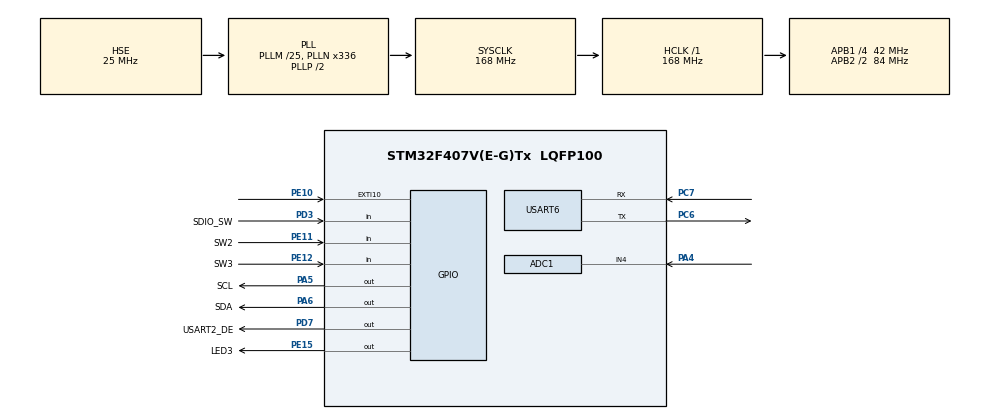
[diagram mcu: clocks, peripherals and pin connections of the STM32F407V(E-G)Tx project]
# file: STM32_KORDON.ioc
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ADC1.Channel-0\#ChannelRegularConversion=ADC_CHANNEL_4
ADC1.NbrOfConversionFlag=1
ADC1.Rank-0\#ChannelRegularConversion=1
ADC1.SamplingTime-0\#ChannelRegularConversion=ADC_SAMPLETIME_84CYCLES
ADC1.master=1
Mcu.Family=STM32F4
Mcu.Name=STM32F407V(E-G)Tx
Mcu.Package=LQFP100
NVIC.ADC_IRQn=true\:0\:0\:false\:false\:true\:true\:true\:true
NVIC.EXTI15_10_IRQn=true\:0\:0\:false\:false\:true\:true\:true\:true
NVIC.PriorityGroup=NVIC_PRIORITYGROUP_4
NVIC.USART6_IRQn=true\:0\:0\:false\:false\:true\:true\:true\:true
PA13.Mode=Serial_Wire
PA13.Signal=SYS_JTMS-SWDIO
PA14.Mode=Serial_Wire
PA14.Signal=SYS_JTCK-SWCLK
PA4.Signal=ADCx_IN4
PA5.GPIO_Label=SCL
PA5.GPIO_ModeDefaultOutputPP=GPIO_MODE_OUTPUT_OD
PA5.GPIO_PuPd=GPIO_PULLUP
PA5.GPIO_Speed=GPIO_SPEED_FREQ_HIGH
PA5.PinState=GPIO_PIN_SET
PA5.Signal=GPIO_Output
PA6.GPIO_Label=SDA
PA6.GPIO_ModeDefaultOutputPP=GPIO_MODE_OUTPUT_OD
PA6.GPIO_PuPd=GPIO_PULLUP
PA6.GPIO_Speed=GPIO_SPEED_FREQ_HIGH
PA6.PinState=GPIO_PIN_SET
PA6.Signal=GPIO_Output
PC6.Mode=Asynchronous
PC6.Signal=USART6_TX
PC7.Mode=Asynchronous
PC7.Signal=USART6_RX
PD3.GPIO_Label=SDIO_SW
PD3.Signal=GPIO_Input
PD7.GPIO_Label=USART2_DE
PD7.Signal=GPIO_Output
PE10.GPIO_ModeDefaultEXTI=GPIO_MODE_IT_FALLING
PE10.Signal=GPXTI10
PE11.GPIO_Label=SW2
PE11.Signal=GPIO_Input
PE12.GPIO_Label=SW3
PE12.Signal=GPIO_Input
PE15.GPIO_Label=LED3
PE15.PinState=GPIO_PIN_SET
PE15.Signal=GPIO_Output
PH0-OSC_IN.Mode=HSE-External-Oscillator
PH0-OSC_IN.Signal=RCC_OSC_IN
PH1-OSC_OUT.Mode=HSE-External-Oscillator
PH1-OSC_OUT.Signal=RCC_OSC_OUT
ProjectManager.HeapSize=0x200
ProjectManager.StackSize=0x400
ProjectManager.TargetToolchain=STM32CubeIDE
RCC.48MHZClocksFreq_Value=48000000
RCC.AHBFreq_Value=168000000
RCC.APB1CLKDivider=RCC_HCLK_DIV4
RCC.APB1Freq_Value=42000000
RCC.APB1TimFreq_Value=84000000
RCC.APB2CLKDivider=RCC_HCLK_DIV2
RCC.APB2Freq_Value=84000000
RCC.APB2TimFreq_Value=168000000
RCC.CortexFreq_Value=168000000
RCC.HCLKFreq_Value=168000000
RCC.HSE_VALUE=25000000
RCC.HSI_VALUE=16000000
RCC.LSE_VALUE=32768
RCC.PLLM=25
RCC.PLLN=336
RCC.PLLQ=7
RCC.PLLSourceVirtual=RCC_PLLSOURCE_HSE
RCC.SYSCLKFreq_VALUE=168000000
RCC.SYSCLKSource=RCC_SYSCLKSOURCE_PLLCLK
RCC.VCOOutputFreq_Value=336000000
SH.ADCx_IN4.0=ADC1_IN4,IN4
USART6.VirtualMode=VM_ASYNC
board=custom

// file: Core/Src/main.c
/* USER CODE BEGIN Header */
/**
  ******************************************************************************
  * @file           : main.c
  * @brief          : Main program body
  ******************************************************************************
  * @attention
  *
  * Copyright (c) 2026 STMicroelectronics.
  * All rights reserved.
  *
  * This software is licensed under terms that can be found in the LICENSE file
  * in the root directory of this software component.
  * If no LICENSE file comes with this software, it is provided AS-IS.
  *
  ******************************************************************************
  */
/* USER CODE END Header */
#include "main.h"

/* USER CODE BEGIN Includes */

#include <stdio.h>
#include <string.h>
#include "sw_i2c.h"

/* USER CODE END Includes */

ADC_HandleTypeDef hadc1;

UART_HandleTypeDef huart6;

void SystemClock_Config(void);
static void MX_GPIO_Init(void);
static void MX_USART6_UART_Init(void);
static void MX_ADC1_Init(void);

int main(void)
{

  /* MCU Configuration--------------------------------------------------------*/

  /* Reset of all peripherals, Initializes the Flash interface and the Systick. */
  HAL_Init();

  /* Configure the system clock */
  SystemClock_Config();

  /* Initialize all configured peripherals */
  MX_GPIO_Init();
  MX_USART6_UART_Init();
  MX_ADC1_Init();
  /* USER CODE BEGIN 2 */

	extern sw_i2c_t sw_i2c_stm32_f4;

	SW_I2C_initial(&sw_i2c_stm32_f4);

	uint8_t mpu_address = (0x68 << 1);
	uint8_t sensor_id = 0;

	SW_I2C_Read_8addr(&sw_i2c_stm32_f4, mpu_address, 0x75, &sensor_id, 1);

	printf("liyanboy74 S2_I2C MPU ID:  0x%X\r\n", sensor_id);

	uint8_t wakeup_data = 0x00;
	SW_I2C_Write_8addr(&sw_i2c_stm32_f4, mpu_address, 0x6B, &wakeup_data, 1);

  /* USER CODE END 2 */

  /* Infinite loop */
  while (1)
  {

    /* USER CODE BEGIN 3 */
	uint8_t raw_data[6];
	int16_t accel_x = 0, accel_y = 0, accel_z = 0;
	float g_x = 0, g_y = 0, g_z = 0;

	SW_I2C_Read_8addr(&sw_i2c_stm32_f4, mpu_address, 0X3B, raw_data, 6);

	accel_x = (int16_t)((raw_data[0] << 8) | raw_data[1]);
	accel_y = (int16_t)((raw_data[2] << 8) | raw_data[3]);
	accel_z = (int16_t)((raw_data[4] << 8) | raw_data[5]);

	g_x = accel_x / 16384.0f;
	g_y = accel_y / 16384.0f;
	g_z = accel_z / 16384.0f;

	printf("X: %.2f g | Y: %.2f g | Z: %.2f g\r\n", g_x, g_y, g_z);

	HAL_Delay(100);

  }

  /* USER CODE END 3 */
}

void SystemClock_Config(void)
{
  RCC_OscInitTypeDef RCC_OscInitStruct = {0};
  RCC_ClkInitTypeDef RCC_ClkInitStruct = {0};

  /** Configure the main internal regulator output voltage
  */
  __HAL_RCC_PWR_CLK_ENABLE();
  __HAL_PWR_VOLTAGESCALING_CONFIG(PWR_REGULATOR_VOLTAGE_SCALE1);

  /** Initializes the RCC Oscillators according to the specified parameters
  * in the RCC_OscInitTypeDef structure.
  */
  RCC_OscInitStruct.OscillatorType = RCC_OSCILLATORTYPE_HSE;
  RCC_OscInitStruct.HSEState = RCC_HSE_ON;
  RCC_OscInitStruct.PLL.PLLState = RCC_PLL_ON;
  RCC_OscInitStruct.PLL.PLLSource = RCC_PLLSOURCE_HSE;
  RCC_OscInitStruct.PLL.PLLM = 25;
  RCC_OscInitStruct.PLL.PLLN = 336;
  RCC_OscInitStruct.PLL.PLLP = RCC_PLLP_DIV2;
  RCC_OscInitStruct.PLL.PLLQ = 7;
  if (HAL_RCC_OscConfig(&RCC_OscInitStruct) != HAL_OK)
  {
    Error_Handler();
  }

  /** Initializes the CPU, AHB and APB buses clocks
  */
  RCC_ClkInitStruct.ClockType = RCC_CLOCKTYPE_HCLK|RCC_CLOCKTYPE_SYSCLK
                              |RCC_CLOCKTYPE_PCLK1|RCC_CLOCKTYPE_PCLK2;
  RCC_ClkInitStruct.SYSCLKSource = RCC_SYSCLKSOURCE_PLLCLK;
  RCC_ClkInitStruct.AHBCLKDivider = RCC_SYSCLK_DIV1;
  RCC_ClkInitStruct.APB1CLKDivider = RCC_HCLK_DIV4;
  RCC_ClkInitStruct.APB2CLKDivider = RCC_HCLK_DIV2;

  if (HAL_RCC_ClockConfig(&RCC_ClkInitStruct, FLASH_LATENCY_5) != HAL_OK)
  {
    Error_Handler();
  }
}

static void MX_ADC1_Init(void)
{

  ADC_ChannelConfTypeDef sConfig = {0};

  /** Configure the global features of the ADC (Clock, Resolution, Data Alignment and number of conversion)
  */
  hadc1.Instance = ADC1;
  hadc1.Init.ClockPrescaler = ADC_CLOCK_SYNC_PCLK_DIV4;
  hadc1.Init.Resolution = ADC_RESOLUTION_12B;
  hadc1.Init.ScanConvMode = DISABLE;
  hadc1.Init.ContinuousConvMode = DISABLE;
  hadc1.Init.DiscontinuousConvMode = DISABLE;
  hadc1.Init.ExternalTrigConvEdge = ADC_EXTERNALTRIGCONVEDGE_NONE;
  hadc1.Init.ExternalTrigConv = ADC_SOFTWARE_START;
  hadc1.Init.DataAlign = ADC_DATAALIGN_RIGHT;
  hadc1.Init.NbrOfConversion = 1;
  hadc1.Init.DMAContinuousRequests = DISABLE;
  hadc1.Init.EOCSelection = ADC_EOC_SINGLE_CONV;
  if (HAL_ADC_Init(&hadc1) != HAL_OK)
  {
    Error_Handler();
  }

  /** Configure for the selected ADC regular channel its corresponding rank in the sequencer and its sample time.
  */
  sConfig.Channel = ADC_CHANNEL_4;
  sConfig.Rank = 1;
  sConfig.SamplingTime = ADC_SAMPLETIME_84CYCLES;
  if (HAL_ADC_ConfigChannel(&hadc1, &sConfig) != HAL_OK)
  {
    Error_Handler();
  }

}

static void MX_USART6_UART_Init(void)
{

  huart6.Instance = USART6;
  huart6.Init.BaudRate = 115200;
  huart6.Init.WordLength = UART_WORDLENGTH_8B;
  huart6.Init.StopBits = UART_STOPBITS_1;
  huart6.Init.Parity = UART_PARITY_NONE;
  huart6.Init.Mode = UART_MODE_TX_RX;
  huart6.Init.HwFlowCtl = UART_HWCONTROL_NONE;
  huart6.Init.OverSampling = UART_OVERSAMPLING_16;
  if (HAL_UART_Init(&huart6) != HAL_OK)
  {
    Error_Handler();
  }

}

static void MX_GPIO_Init(void)
{
  GPIO_InitTypeDef GPIO_InitStruct = {0};

  /* GPIO Ports Clock Enable */
  __HAL_RCC_GPIOH_CLK_ENABLE();
  __HAL_RCC_GPIOA_CLK_ENABLE();
  __HAL_RCC_GPIOE_CLK_ENABLE();
  __HAL_RCC_GPIOC_CLK_ENABLE();
  __HAL_RCC_GPIOD_CLK_ENABLE();

  /*Configure GPIO pin Output Level */
  HAL_GPIO_WritePin(GPIOA, SCL_Pin|SDA_Pin, GPIO_PIN_SET);

  /*Configure GPIO pin Output Level */
  HAL_GPIO_WritePin(LED3_GPIO_Port, LED3_Pin, GPIO_PIN_SET);

  /*Configure GPIO pin Output Level */
  HAL_GPIO_WritePin(USART2_DE_GPIO_Port, USART2_DE_Pin, GPIO_PIN_RESET);

  /*Configure GPIO pins : SCL_Pin SDA_Pin */
  GPIO_InitStruct.Pin = SCL_Pin|SDA_Pin;
  GPIO_InitStruct.Mode = GPIO_MODE_OUTPUT_OD;
  GPIO_InitStruct.Pull = GPIO_PULLUP;
  GPIO_InitStruct.Speed = GPIO_SPEED_FREQ_HIGH;
  HAL_GPIO_Init(GPIOA, &GPIO_InitStruct);

  /*Configure GPIO pin : PE10 */
  GPIO_InitStruct.Pin = GPIO_PIN_10;
  GPIO_InitStruct.Mode = GPIO_MODE_IT_FALLING;
  GPIO_InitStruct.Pull = GPIO_NOPULL;
  HAL_GPIO_Init(GPIOE, &GPIO_InitStruct);

  /*Configure GPIO pins : SW2_Pin SW3_Pin */
  GPIO_InitStruct.Pin = SW2_Pin|SW3_Pin;
  GPIO_InitStruct.Mode = GPIO_MODE_INPUT;
  GPIO_InitStruct.Pull = GPIO_NOPULL;
  HAL_GPIO_Init(GPIOE, &GPIO_InitStruct);

  /*Configure GPIO pin : LED3_Pin */
  GPIO_InitStruct.Pin = LED3_Pin;
  GPIO_InitStruct.Mode = GPIO_MODE_OUTPUT_PP;
  GPIO_InitStruct.Pull = GPIO_NOPULL;
  GPIO_InitStruct.Speed = GPIO_SPEED_FREQ_LOW;
  HAL_GPIO_Init(LED3_GPIO_Port, &GPIO_InitStruct);

  /*Configure GPIO pin : SDIO_SW_Pin */
  GPIO_InitStruct.Pin = SDIO_SW_Pin;
  GPIO_InitStruct.Mode = GPIO_MODE_INPUT;
  GPIO_InitStruct.Pull = GPIO_NOPULL;
  HAL_GPIO_Init(SDIO_SW_GPIO_Port, &GPIO_InitStruct);

  /*Configure GPIO pin : USART2_DE_Pin */
  GPIO_InitStruct.Pin = USART2_DE_Pin;
  GPIO_InitStruct.Mode = GPIO_MODE_OUTPUT_PP;
  GPIO_InitStruct.Pull = GPIO_NOPULL;
  GPIO_InitStruct.Speed = GPIO_SPEED_FREQ_LOW;
  HAL_GPIO_Init(USART2_DE_GPIO_Port, &GPIO_InitStruct);

  /* EXTI interrupt init*/
  HAL_NVIC_SetPriority(EXTI15_10_IRQn, 0, 0);
  HAL_NVIC_EnableIRQ(EXTI15_10_IRQn);

}

/* USER CODE BEGIN 4 */

int _write(int file, char *ptr, int len){

	HAL_UART_Transmit(&huart6, (uint8_t*)ptr, len, HAL_MAX_DELAY);
	return len;

}

/* USER CODE END 4 */

void Error_Handler(void)
{
  __disable_irq();
  while (1)
  {
  }
}
